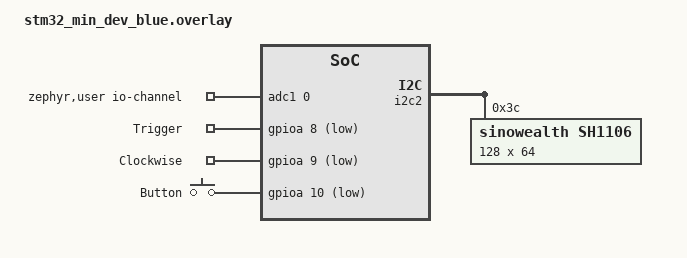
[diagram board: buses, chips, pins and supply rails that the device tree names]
/ {
    zephyr,user    {
        io-channels = <&adc1 0>;
    };
};

&i2c2 {
    status = "okay";

    sh1106: sh1106@3c {
        compatible = "sinowealth,sh1106";

        reg = <0x3c>;
        segment-offset = <0>;
        page-offset = <0>;
        display-offset = <0>;
        multiplex-ratio = <63>;
        segment-remap;
        com-invdir;
        com-sequential;
        prechargep = <0x22>;
        width = <128>;
        height = <64>;
    };
};

&gpioa {
    rotary {
        compatible = "gpio-keys";

        rot_trig: rot_trig {
            gpios = <&gpioa 8 GPIO_ACTIVE_LOW>;
            label = "Trigger";
        };
        rot_clkw: rot_clkw {
            gpios = <&gpioa 9 GPIO_ACTIVE_LOW>;
            label = "Clockwise";
        };
        rot_but: rot_but {
            gpios = <&gpioa 10 GPIO_ACTIVE_LOW>;
            label = "Button";
        };
    };
};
